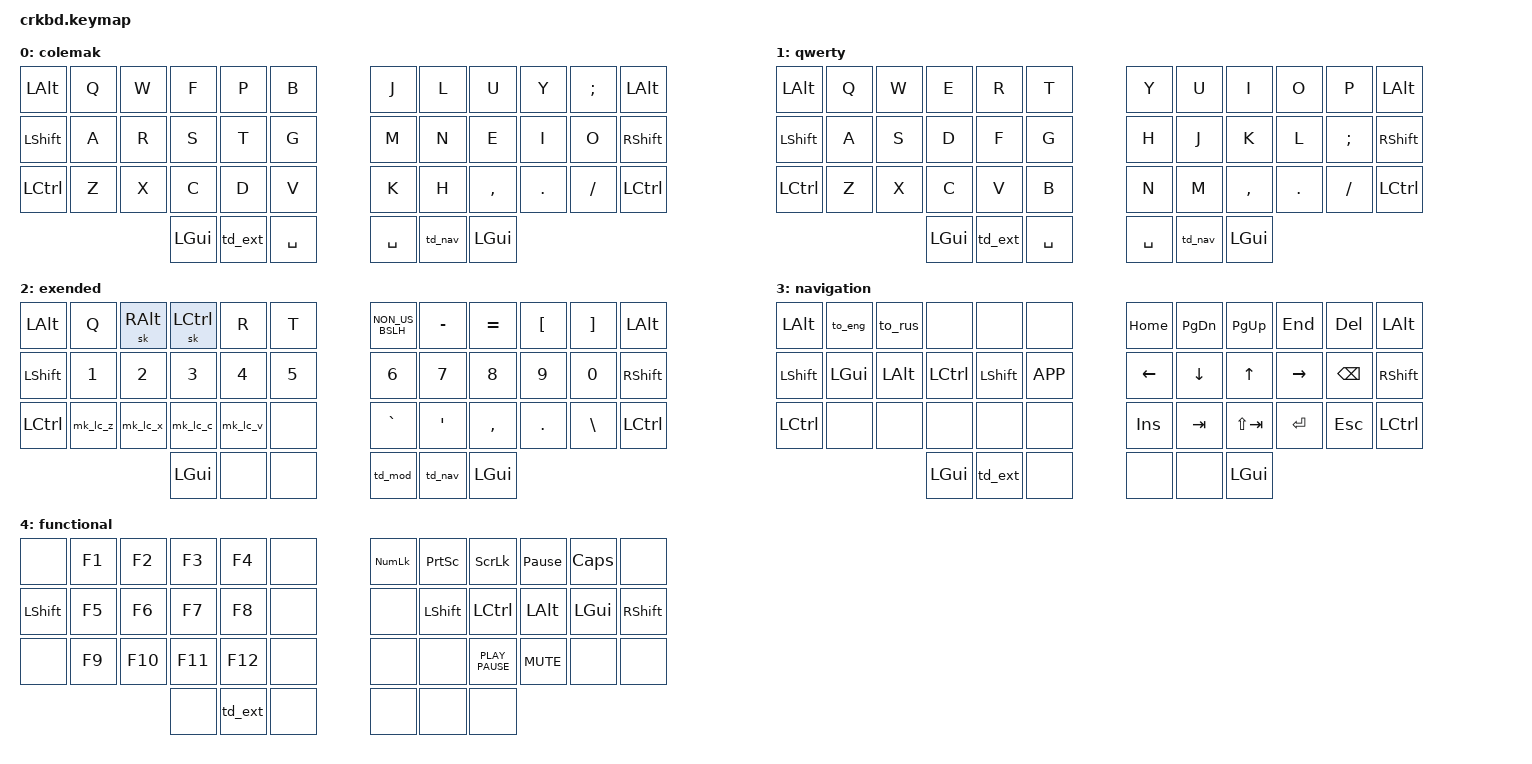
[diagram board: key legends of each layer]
/*
 * Copyright (c) 2020 The ZMK Contributors
 *
 * SPDX-License-Identifier: MIT
 */
/* THIS FILE WAS GENERATED!
 *
 * This file was generated automatically. You may or may not want to
 * edit it directly.
 */

#include <behaviors.dtsi>
#include <dt-bindings/zmk/keys.h>

#define LCOL   0
#define LQWE   1
#define LEXT   2
#define LNAV   3
#define LFUN   4

/ {
    combos {
        compatible = "zmk,combos";

        lock {
            bindings = <&kp LG(L)>;
            key-positions = <11 23 35>
            layers = <0 1>;
            timeout-ms = <50>;
        };

        right_escape {
            bindings = <&kp ESC>;
            key-positions = <8 9>;
            timeout-ms = <20>;
            layers = <0 1>;
        };

        right_enter {
            bindings = <&kp ENTER>;
            key-positions = <20 21>;
            timeout-ms = <20>;
            layers = <0 1>;
        };

        left_tab {
            bindings = <&kp TAB>;
            key-positions = <26 27>;
            timeout-ms = <20>;
            layers = <0 1>;
        };

        left_escape {
            bindings = <&kp ESC>;
            key-positions = <2 3>;
            timeout-ms = <20>;
            layers = <0 1>;
        };

        left_ralt {
            bindings = <&sk RALT>;
            key-positions = <14 16 15>;
            timeout-ms = <20>;
            layers = <0 1>;
        };

        left_enter {
            bindings = <&kp ENTER>;
            key-positions = <14 15>;
            timeout-ms = <20>;
            layers = <0 1>;
        };

        sticky_nav {
            bindings = <&sl LNAV>;
            key-positions = <15 16>;
            timeout-ms = <20>;
            layers = <0 1>;
        };
    };

    macros {
        to_eng: to_eng {
            label = "to_eng";
            compatible = "zmk,behavior-macro";
            #binding-cells = <0>;
            bindings = <&to LCOL &kp LC(LS(N1))>;
        };
        to_rus: to_rus {
            label = "to_rus";
            compatible = "zmk,behavior-macro";
            #binding-cells = <0>;
            bindings = <&to LQWE &kp LC(LS(N2))>;
        };
        mk_shifted: mk_shifted {
            label = "mk_shifted";
            compatible = "zmk,behavior-macro";
            #binding-cells = <0>;
            wait-ms = <0>;
            bindings =
                <&macro_press>,
                <&mo LEXT &kp LSHFT>,
                <&macro_pause_for_release>,
                <&macro_release>,
                <&mo LEXT &kp LSHFT>;
        };
        ZMK_MACRO(mk_lc_z,
            wait-ms = <30>;
            tap-ms = <40>;
            bindings = <&macro_press &kp LCTRL>, <&macro_tap &kp Z>, <&macro_release &kp LCTRL>;
        )
        ZMK_MACRO(mk_lc_x,
            wait-ms = <30>;
            tap-ms = <40>;
            bindings = <&macro_press &kp LCTRL>, <&macro_tap &kp X>, <&macro_release &kp LCTRL>;
        )
        ZMK_MACRO(mk_lc_c,
            wait-ms = <30>;
            tap-ms = <40>;
            bindings = <&macro_press &kp LCTRL>, <&macro_tap &kp C>, <&macro_release &kp LCTRL>;
        )
        ZMK_MACRO(mk_lc_v,
            wait-ms = <30>;
            tap-ms = <40>;
            bindings = <&macro_press &kp LCTRL>, <&macro_tap &kp V>, <&macro_release &kp LCTRL>;
        )
        ZMK_MACRO(mk_lc_y,
            wait-ms = <30>;
            tap-ms = <40>;
            bindings = <&macro_press &kp LCTRL>, <&macro_tap &kp Y>, <&macro_release &kp LCTRL>;
        )
        ZMK_MACRO(mk_lc_q,
            wait-ms = <30>;
            tap-ms = <40>;
            bindings = <&macro_press &kp LCTRL>, <&macro_tap &kp Q>, <&macro_release &kp LCTRL>;
        )
        ZMK_MACRO(mk_lc_w,
            wait-ms = <30>;
            tap-ms = <40>;
            bindings = <&macro_press &kp LCTRL>, <&macro_tap &kp W>, <&macro_release &kp LCTRL>;
        )
        ZMK_MACRO(mk_lc_e,
            wait-ms = <30>;
            tap-ms = <40>;
            bindings = <&macro_press &kp LCTRL>, <&macro_tap &kp E>, <&macro_release &kp LCTRL>;
        )
        ZMK_MACRO(mk_lc_r,
            wait-ms = <30>;
            tap-ms = <40>;
            bindings = <&macro_press &kp LCTRL>, <&macro_tap &kp R>, <&macro_release &kp LCTRL>;
        )
        ZMK_MACRO(mk_lc_t,
            wait-ms = <30>;
            tap-ms = <40>;
            bindings = <&macro_press &kp LCTRL>, <&macro_tap &kp T>, <&macro_release &kp LCTRL>;
        )
    };

    behaviors {
        td_nav: tap_dance_nav {
            compatible = "zmk,behavior-tap-dance";
            label = "TAP_DANCE_NAV";
            #binding-cells = <0>;
            tapping-term-ms = <200>;
            bindings =
                <&mo LNAV>,
                <&mo LFUN>;
        };
        td_ext: tap_dance_ext {
            compatible = "zmk,behavior-tap-dance";
            label = "TAP_DANCE_EXT";
            #binding-cells = <0>;
            tapping-term-ms = <200>;
            bindings =
                <&mo LEXT>,
                <&mk_shifted>,
                <&mo LNAV>;
        };
        td_mod: tap_dance_mod {
            compatible = "zmk,behavior-tap-dance";
            label = "TAP_DANCE_MOD";
            #binding-cells = <0>;
            tapping-term-ms = <200>;
            bindings =
                <&kp LSHFT>,
                <&kp LCTRL>;
        };
        lmt: left_hand_positional_hold_tap {
            compatible = "zmk,behavior-hold-tap";
            label = "LEFT_POSITIONAL_HOLD_TAP";
            #binding-cells = <2>;
            flavor = "balanced";
            tapping-term-ms = <500>;                        // <---[[produces tap if held longer than tapping-term-ms]]
            quick-tap-ms = <200>;
            bindings = <&kp>, <&kp>;
   //       hold-trigger-key-positions = <5 6 7 8 9 15 16 17 18 19 25 26 27 28 29 30 31 32 33 >;    // <---[[right-hand keys]]
        };
        rmt: right_hand_positional_hold_tap {
            compatible = "zmk,behavior-hold-tap";
            label = "RIGHT_POSITIONAL_HOLD_TAP";
            #binding-cells = <2>;
            flavor = "balanced";
            tapping-term-ms = <500>;                        // <---[[produces tap if held longer than tapping-term-ms]]
            quick-tap-ms = <200>;
            bindings = <&kp>, <&kp>;
   //       hold-trigger-key-positions = <0 1 2 3 4 10 11 12 13 14 20 21 22 23 24 30 31 32 33 >;    // <---[[left-hand keys]]
        };
    };

    keymap {
        compatible = "zmk,keymap";

        colemak {
            bindings = <
    &kp LALT   &kp Q   &kp W    &kp F     &kp P    &kp B            &kp J      &kp L    &kp U      &kp Y    &kp SEMI  &kp LALT
    &kp LSHFT  &kp A   &kp R    &kp S     &kp T    &kp G            &kp M      &kp N    &kp E      &kp I    &kp O     &kp RSHFT
    &kp LCTRL  &kp Z   &kp X    &kp C     &kp D    &kp V            &kp K      &kp H    &kp COMMA  &kp DOT  &kp FSLH  &kp LCTRL
                                &kp LGUI  &td_ext  &kp SPACE        &kp SPACE  &td_nav  &kp LGUI
            >;
        };
        
        qwerty {
            bindings = <
    &kp LALT   &kp Q   &kp W   &kp E     &kp R      &kp T            &kp Y       &kp U     &kp I      &kp O     &kp P     &kp LALT
    &kp LSHFT  &kp A   &kp S   &kp D     &kp F      &kp G            &kp H       &kp J     &kp K      &kp L     &kp SEMI  &kp RSHFT
    &kp LCTRL  &kp Z   &kp X   &kp C     &kp V      &kp B            &kp N       &kp M     &kp COMMA  &kp DOT   &kp FSLH  &kp LCTRL
                               &kp LGUI  &td_ext    &kp SPACE        &kp SPACE   &td_nav   &kp LGUI
            >;
        };

        exended {
            bindings = <
    &kp LALT   &kp Q     &sk RALT  &sk LCTRL  &kp R     &kp T      &kp NON_US_BSLH  &kp MINUS  &kp EQUAL  &kp LBKT  &kp RBKT  &kp LALT
    &kp LSHFT  &kp N1    &kp N2    &kp N3     &kp N4    &kp N5     &kp N6           &kp N7     &kp N8     &kp N9    &kp N0    &kp RSHFT
    &kp LCTRL  &mk_lc_z  &mk_lc_x  &mk_lc_c   &mk_lc_v  &none      &kp GRAVE        &kp SQT    &kp COMMA  &kp DOT   &kp BSLH  &kp LCTRL
                                   &kp LGUI   &none     &none      &td_mod          &td_nav    &kp LGUI
            >;
        };

        navigation {
            bindings = <
    &kp LALT   &to_eng   &to_rus   &none      &none       &none         &kp HOME   &kp PG_DN  &kp PG_UP    &kp END    &kp DEL   &kp LALT
    &kp LSHFT  &kp LGUI  &kp LALT  &kp LCTRL  &kp LSHIFT  &kp K_APP     &kp LEFT   &kp DOWN   &kp UP       &kp RIGHT  &kp BSPC  &kp RSHFT
    &kp LCTRL  &none     &none     &none      &none       &none         &kp INS    &kp TAB    &kp LS(TAB)  &kp ENTER  &kp ESC   &kp LCTRL
                                   &kp LGUI   &td_ext     &none         &none      &none      &kp LGUI
            >;
        };

        functional {
            bindings = <
    &none      &kp F1  &kp F2   &kp F3   &kp F4    &none          &kp KP_NUMLOCK  &kp PRINTSCREEN   &kp SCROLLLOCK    &kp PAUSE_BREAK  &kp CAPS  &none
    &kp LSHFT  &kp F5  &kp F6   &kp F7   &kp F8    &none          &none           &kp LSHFT         &kp LCTRL         &kp LALT         &kp LGUI  &kp RSHFT
    &none      &kp F9  &kp F10  &kp F11  &kp F12   &none          &none           &none             &kp K_PLAY_PAUSE  &kp K_MUTE       &none     &none
                                &none    &td_ext   &none          &none           &none             &none
            >;
        };
    };
};
